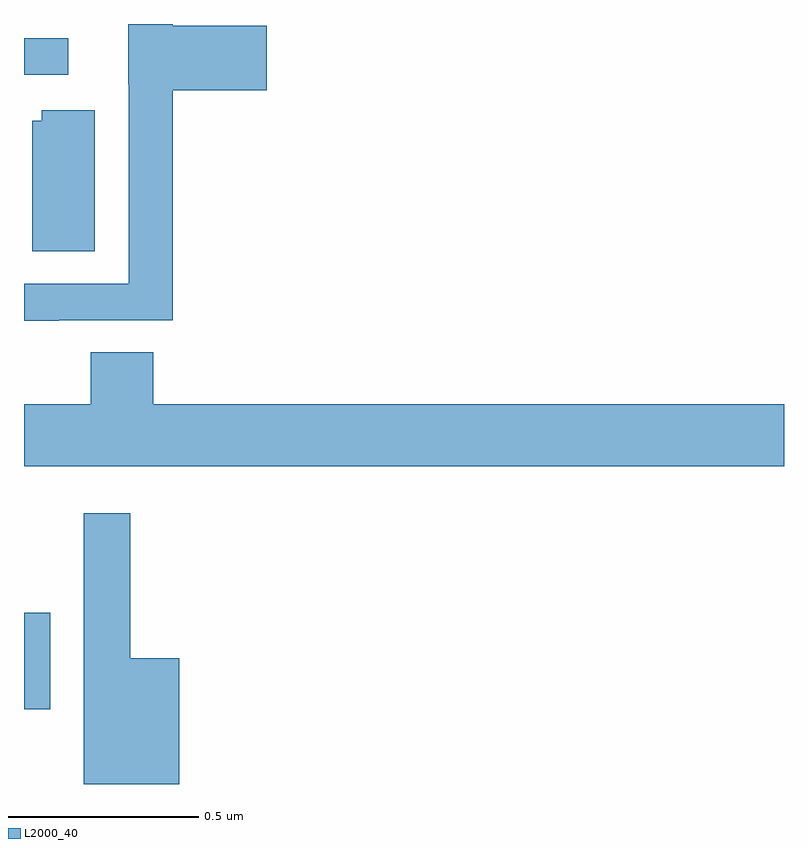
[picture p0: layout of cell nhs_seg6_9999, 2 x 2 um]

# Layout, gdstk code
import gdstk
lib = gdstk.Library(unit=1e-6, precision=1e-09)
def R(c, l, rs):  # rectangles x0, y0, x1, y1
    for r in rs: c.add(gdstk.rectangle(r[:2], r[2:], *l))
def P(c, l, *ps):  # polygons
    for p in ps: c.add(gdstk.Polygon(p, *l))
L2000_40 = (2000, 40)

nhs_seg6_9999 = lib.new_cell('nhs_seg6_9999')
R(nhs_seg6_9999, L2000_40, [(241,946.697,241.069,946.951), (241,948.366,241.117,948.463)])
P(nhs_seg6_9999, L2000_40, [(241.091,947.721),(241.391,947.721),(241.391,948.326),(241.639,948.326),(241.639,948.496),(241.391,948.496),(241.391,948.5),(241.274,948.5),(241.274,948.342),(241.275,948.342),(241.275,947.817),(241,947.817),(241,947.719),(241.091,947.719)],
  [(241.186,948.273),(241.047,948.273),(241.047,948.246),(241.022,948.246),(241.022,947.902),(241.186,947.902)],
  [(243,947.5),(241.34,947.5),(241.34,947.636),(241.175,947.636),(241.175,947.5),(241,947.5),(241,947.336),(243,947.336)],
  [(241.408,946.831),(241.279,946.831),(241.279,947.212),(241.157,947.212),(241.157,946.5),(241.408,946.5)])

lib.write_gds('nhs_seg6_9999.gds')
